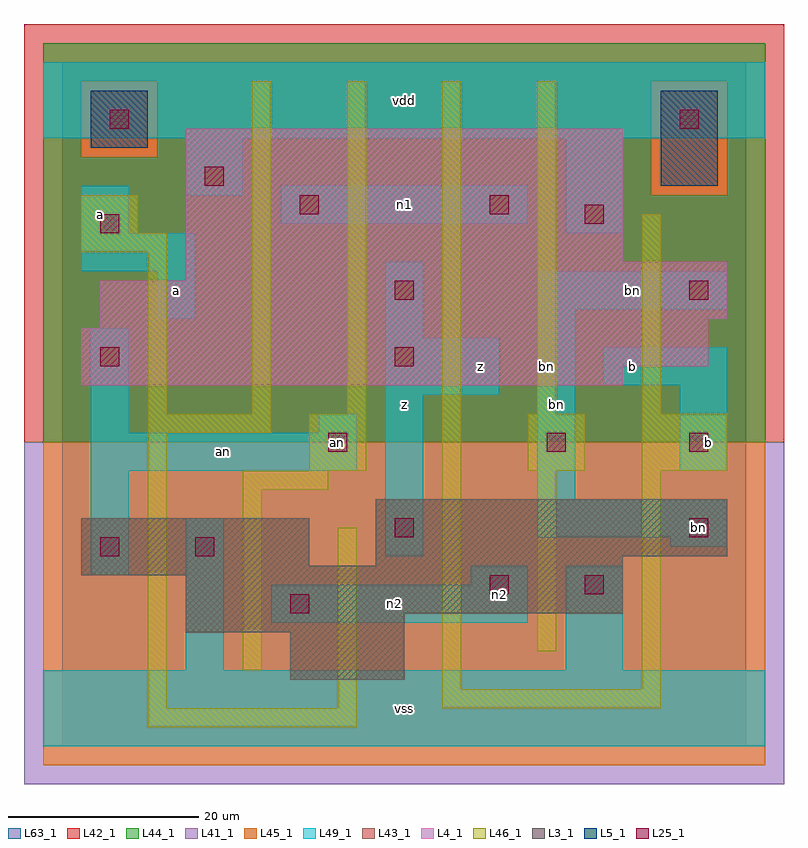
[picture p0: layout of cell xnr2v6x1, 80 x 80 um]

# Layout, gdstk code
import gdstk
lib = gdstk.Library(unit=1e-6, precision=1e-09)
def R(c, l, rs):  # rectangles x0, y0, x1, y1
    for r in rs: c.add(gdstk.rectangle(r[:2], r[2:], *l))
L3_1 = (3, 1)
L4_1 = (4, 1)
L5_1 = (5, 1)
L25_1 = (25, 1)
L41_1 = (41, 1)
L42_1 = (42, 1)
L43_1 = (43, 1)
L44_1 = (44, 1)
L45_1 = (45, 1)
L46_1 = (46, 1)
L49_1 = (49, 1)
L63_1 = (63, 1)

xnr2v6x1 = lib.new_cell('xnr2v6x1')
R(xnr2v6x1, L3_1, [(24,7,36,12), (13,12,36,14), (13,14,59,18), (2,18,59,19), (2,19,26,24), (33,19,59,20), (33,20,70,26)])
R(xnr2v6x1, L4_1, [(2,38,59,40), (2,40,68,44), (4,44,68,45), (4,45,70,49), (13,49,70,51), (13,51,59,65)])
R(xnr2v6x1, L5_1, [(63,59,69,69), (3,63,9,69)])
R(xnr2v6x1, L25_1, [(24,14,26,16), (45,16,47,18), (55,16,57,18), (4,20,6,22), (14,20,16,22), (35,22,37,24), (66,22,68,24), (28,31,30,33), (51,31,53,33), (66,31,68,33), (4,40,6,42), (35,40,37,42), (35,47,37,49), (66,47,68,49), (4,54,6,56), (55,55,57,57), (25,56,27,58), (45,56,47,58), (15,59,17,61), (5,65,7,67), (65,65,67,67)])
R(xnr2v6x1, L41_1, [(-4,-4,76,32)])
R(xnr2v6x1, L42_1, [(-4,32,76,76)])
R(xnr2v6x1, L43_1, [(24,7,36,12), (13,12,36,14), (13,14,59,18), (2,18,59,19), (2,19,26,24), (33,19,59,20), (33,20,70,26), (2,38,59,40), (2,40,68,44), (4,44,68,45), (4,45,70,49), (13,49,70,51), (13,51,59,65), (63,59,69,69), (3,63,9,69)])
R(xnr2v6x1, L44_1, [(-2,32,74,58), (-2,58,62,62), (70,58,74,70), (-2,62,2,70), (10,62,62,70), (-2,70,74,74)])
R(xnr2v6x1, L45_1, [(-2,-2,74,32), (62,58,70,70), (2,62,10,70)])
R(xnr2v6x1, L46_1, [(9,2,31,4), (9,4,11,33), (29,4,31,23), (40,4,63,6), (40,6,42,70), (61,6,63,29), (19,8,21,27), (50,10,52,29), (19,27,28,29), (26,29,32,35), (49,29,55,35), (61,29,70,35), (9,33,22,35), (9,35,11,52), (20,35,22,70), (30,35,32,70), (50,35,52,70), (61,35,63,56), (2,52,11,54), (2,54,8,58)])
R(xnr2v6x1, L49_1, [(-2,0,74,8), (13,8,17,24), (53,8,59,19), (22,13,49,17), (43,17,49,19), (3,18,7,29), (34,20,38,37), (64,21,70,22), (50,22,70,26), (50,26,54,46), (3,29,31,33), (65,29,70,38), (3,33,7,44), (27,33,31,35), (34,37,46,43), (57,38,70,42), (34,43,38,51), (10,45,14,50), (50,46,70,50), (2,50,14,54), (2,54,7,59), (53,54,59,64), (23,55,49,59), (13,58,19,64), (-2,64,74,72)])
R(xnr2v6x1, L63_1, [(0,0,72,72)])
xnr2v6x1.add(gdstk.Label('an', (29,32), layer=49, texttype=1))
xnr2v6x1.add(gdstk.Label('bn', (51,40), layer=46, texttype=1))
xnr2v6x1.add(gdstk.Label('a', (12,48), layer=49, texttype=1))
xnr2v6x1.add(gdstk.Label('a', (4,56), layer=49, texttype=1))
xnr2v6x1.add(gdstk.Label('an', (17,31), layer=49, texttype=1))
xnr2v6x1.add(gdstk.Label('an', (29,32), layer=49, texttype=1))
xnr2v6x1.add(gdstk.Label('vss', (36,4), layer=49, texttype=1))
xnr2v6x1.add(gdstk.Label('n2', (35,15), layer=49, texttype=1))
xnr2v6x1.add(gdstk.Label('n2', (46,16), layer=49, texttype=1))
xnr2v6x1.add(gdstk.Label('z', (44,40), layer=49, texttype=1))
xnr2v6x1.add(gdstk.Label('bn', (52,36), layer=49, texttype=1))
xnr2v6x1.add(gdstk.Label('z', (36,36), layer=49, texttype=1))
xnr2v6x1.add(gdstk.Label('n1', (36,57), layer=49, texttype=1))
xnr2v6x1.add(gdstk.Label('vdd', (36,68), layer=49, texttype=1))
xnr2v6x1.add(gdstk.Label('bn', (67,23), layer=49, texttype=1))
xnr2v6x1.add(gdstk.Label('b', (68,32), layer=49, texttype=1))
xnr2v6x1.add(gdstk.Label('b', (60,40), layer=49, texttype=1))
xnr2v6x1.add(gdstk.Label('bn', (60,48), layer=49, texttype=1))

lib.write_gds('xnr2v6x1.gds')
